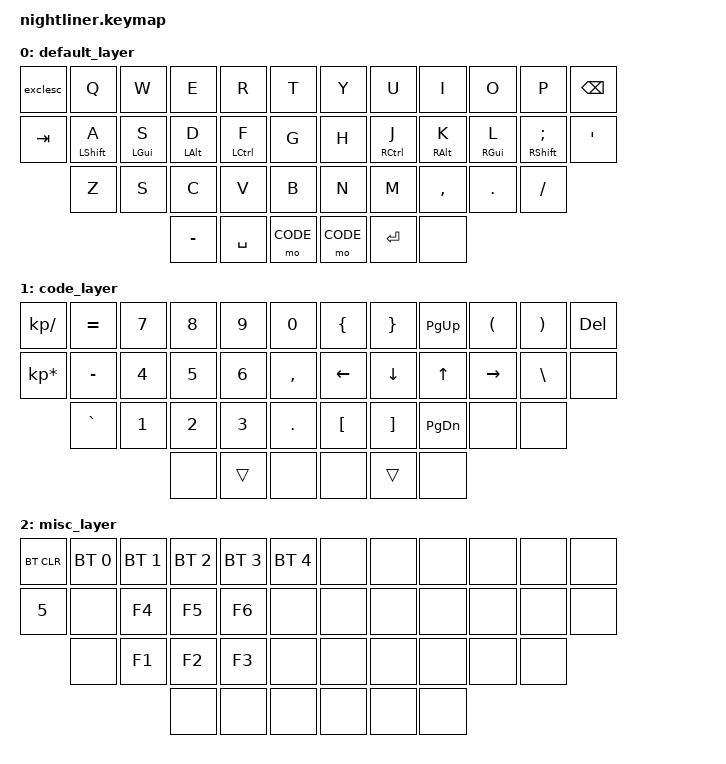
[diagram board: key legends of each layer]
#include <behaviors.dtsi>
#include <dt-bindings/zmk/keys.h>
#include <dt-bindings/zmk/bt.h>

#define DEFAULT 0
#define CODE    1
#define MISC    2

/ {
	combos {
		compatible = "zmk,combos";
		combo_misc {
			timeout-ms = <50>;
			key-positions = <38 39>;
			bindings = <&mo MISC>;
		};
	};

	behaviors {
		tdc: tap_dance_comma {
			compatible = "zmk,behavior-tap-dance";
            #binding-cells = <0>;
			tapping-term-ms = <200>;
			bindings = <&kp DOT>, <&kp COMMA>;
		};
	
        lh_pht: left_positional_hold_tap {
            compatible = "zmk,behavior-hold-tap";
            #binding-cells = <2>;
            flavor = "tap-unless-interrupted";
            tapping-term-ms = <500>;
            quick-tap-ms = <200>;
            bindings = <&kp>, <&kp>;
            hold-trigger-key-positions = <6 7 8 9 10 11 13 14 15 16 18 19 20 21 22 23 29 30 31 32 33 36 37 38 39>;
        };

        rh_pht: right_positional_hold_tap {
            compatible = "zmk,behavior-hold-tap";
            #binding-cells = <2>;
            flavor = "tap-unless-interrupted";
            tapping-term-ms = <500>;
            quick-tap-ms = <200>;
            bindings = <&kp>, <&kp>;
            hold-trigger-key-positions = <0 1 2 3 4 5 12 13 14 15 16 17 19 20 21 22 24 25 26 27 28 34 35 36 37>;
        };

        // uht: umlaut_hold_tap {
        //     compatible = "zmk,behavior-hold-tap";
        //     #binding-cells = <2>;
        //     flavor = "tap-preferred";
        //     tapping-term-ms = <200>;
        //     quick-tap-ms = <200>;
        //     bindings = <&kp>, <&kp>;
        // };

		exclesc: exclamationmark_escape {
            compatible = "zmk,behavior-mod-morph";
            #binding-cells = <0>;
            bindings = <&kp ESC>, <&kp EXCL>;
            mods = <(MOD_RGUI|MOD_RSFT)>;
        };
	};

    keymap {
        compatible = "zmk,keymap";

        default_layer {
            bindings = <
                &exclesc         &kp Q            &kp W            &kp E            &kp R            &kp T                    &kp Y            &kp U            &kp I            &kp O            &kp P                &kp BSPC
                &kp TAB          &lh_pht LSHIFT A &lh_pht LGUI S   &lh_pht LALT D   &lh_pht LCTRL F  &kp G                    &kp H            &rh_pht RCTRL J  &rh_pht RALT K   &rh_pht RGUI L   &rh_pht RSHIFT SEMI  &kp SQT
                                 &kp Z            &kp S            &kp C            &kp V            &kp B                    &kp N            &kp M            &kp COMMA        &kp DOT          &kp FSLH
                                                                   &kp MINUS        &kp SPACE        &mo CODE                 &mo CODE         &kp RETURN       &none     
            >;
        };

        code_layer {
            bindings = <
                &kp KP_SLASH     &kp EQUAL        &kp N7           &kp N8           &kp N9           &kp N0                   &kp LBRC         &kp RBRC         &kp PG_UP        &kp LPAR         &kp RPAR             &kp DEL
                &kp KP_ASTERISK  &kp MINUS        &kp N4           &kp N5           &kp N6           &kp COMMA                &kp LEFT         &kp DOWN         &kp UP           &kp RIGHT        &kp BSLH             &none
                                 &kp GRAVE        &kp N1           &kp N2           &kp N3           &kp DOT                  &kp LBKT         &kp RBKT         &kp PG_DN        &none            &none     
                                                                   &none            &trans           &none                    &none            &trans           &none     
            >;
        };

        misc_layer {
            bindings = <
                &bt BT_CLR       &bt BT_SEL 0     &bt BT_SEL 1     &bt BT_SEL       2 &bt BT_SEL 3   &bt BT_SEL 4             &none            &none            &none            &none            &none                &none
                &kp N5           &none            &kp F4           &kp F5           &kp F6           &none                    &none            &none            &none            &none            &none                &none
                                 &none            &kp F1           &kp F2           &kp F3           &none                    &none            &none            &none            &none            &none   
                                                                   &none            &none            &none                    &none            &none            &none
            >;
        };
    };
};
